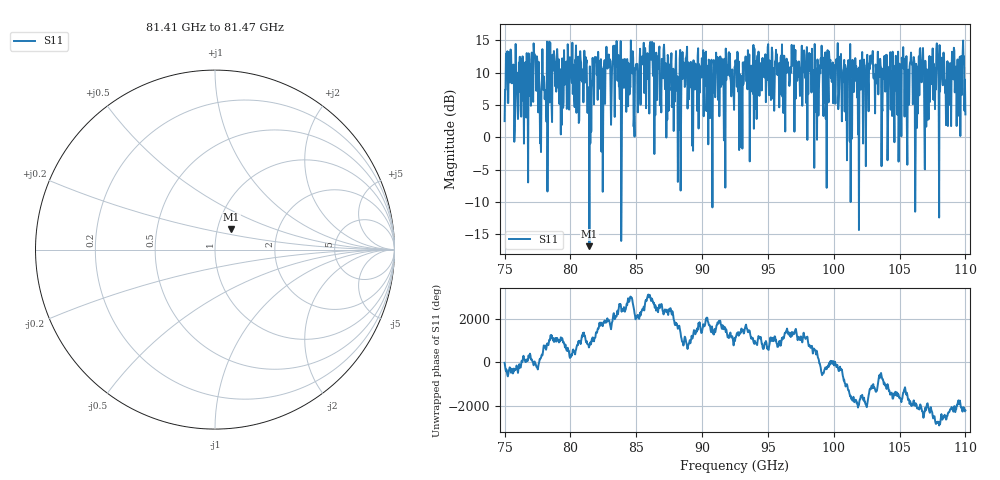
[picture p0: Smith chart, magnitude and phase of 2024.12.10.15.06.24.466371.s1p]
! Created with skrf (http://scikit-rf.org).
# GHz S RI R 50.0
!freq ReS11 ImS11
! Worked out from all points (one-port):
!   1001 points, 75 GHz to 110 GHz, reference 50 ohm
!   lowest |S11| = -16.8 dB at 81.44 GHz (marker M1), VSWR 1.34, Z = 58.3 + j13.3 ohm
!   |S11| at or under -10 dB: 81.43024 GHz to 81.44858 GHz (18.34 MHz wide, 0.0225 % of centre); 83.84819 GHz to 83.87703 GHz (28.83 MHz wide, 0.0344 % of centre); 90.78317 GHz to 90.78643 GHz (3.258 MHz wide, 0.00359 % of centre) (the widest 3 of 6)
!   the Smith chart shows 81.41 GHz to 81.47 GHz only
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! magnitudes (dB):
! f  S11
! 75 GHz  2.5
! 75.31 GHz  13.2
! 75.88 GHz  8.0
! 77.34 GHz  12.2
! 77.66 GHz  6.6
! 78.89 GHz  11.6
! 79.38 GHz  12.2
! 81.06 GHz  13.4
! 81.44 GHz  -16.8
! 81.86 GHz  12.5
! 82.45 GHz  -8.4
! 83.36 GHz  3.2
! 83.75 GHz  5.9
! 85.53 GHz  12.5
! 88.12 GHz  9.5
! 88.69 GHz  7.8
! 90.64 GHz  8.4
! 92.5 GHz  11.0
! 96.88 GHz  11.8
! 101.2 GHz  14.5
! 102.9 GHz  12.2
! 105.6 GHz  9.5
! 106.6 GHz  10.1
! 107 GHz  1.7
! 108.2 GHz  10.5
! 108.7 GHz  1.8
! 109.1 GHz  13.9
! 110 GHz  3.6
